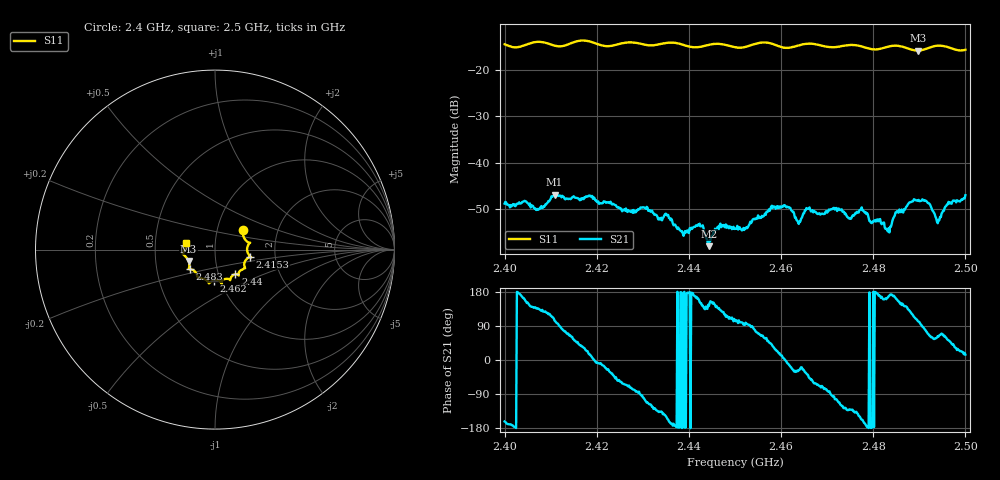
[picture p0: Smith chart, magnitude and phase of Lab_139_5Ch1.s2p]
# Hz S RI R 50
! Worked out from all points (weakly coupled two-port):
!   601 points, 2.4 GHz to 2.5 GHz, reference 50 ohm
!   highest |S21| = -46.82 dB at 2.4108 GHz (marker M1); lowest = -57.9 dB at 2.4443 GHz (marker M2)
!   lowest |S11| = -15.9 dB at 2.4897 GHz (marker M3), VSWR 1.38, Z = 36.9 - j4.82 ohm
!   |S11| at or under -10 dB: start of sweep to end of sweep
!   S12 and S22 are empty: the file has one direction only
!   S11 on the Smith chart (normalised r, x): 2.4 GHz: 1.33, +0.29; 2.4153 GHz: 1.48, -0.12; 2.44 GHz: 1.20, -0.34; 2.462 GHz: 0.93, -0.33; 2.483 GHz: 0.74, -0.17; 2.5 GHz: 0.72, +0.06
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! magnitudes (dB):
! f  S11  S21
! 2.4 GHz  -14.5  -48.7
! 2.4072 GHz  -14.0  -49.9
! 2.4108 GHz  -14.8  -46.8
! 2.4153 GHz  -14.0  -47.5
! 2.4167 GHz  -13.7  -47.9
! 2.4333 GHz  -14.6  -52.1
! 2.44 GHz  -15.0  -55.1
! 2.4425 GHz  -15.1  -53.6
! 2.4443 GHz  -14.6  -57.9
! 2.4467 GHz  -14.4  -53.4
! 2.45 GHz  -15.1  -54.2
! 2.4582 GHz  -14.4  -49.7
! 2.462 GHz  -15.2  -49.7
! 2.4638 GHz  -14.7  -53.1
! 2.4667 GHz  -14.4  -50.4
! 2.4775 GHz  -15.0  -49.5
! 2.483 GHz  -15.1  -54.3
! 2.4833 GHz  -15.0  -54.0
! 2.4852 GHz  -14.8  -50.4
! 2.4897 GHz  -15.9  -48.1
! 2.4942 GHz  -14.8  -52.3
! 2.5 GHz  -15.7  -46.9
